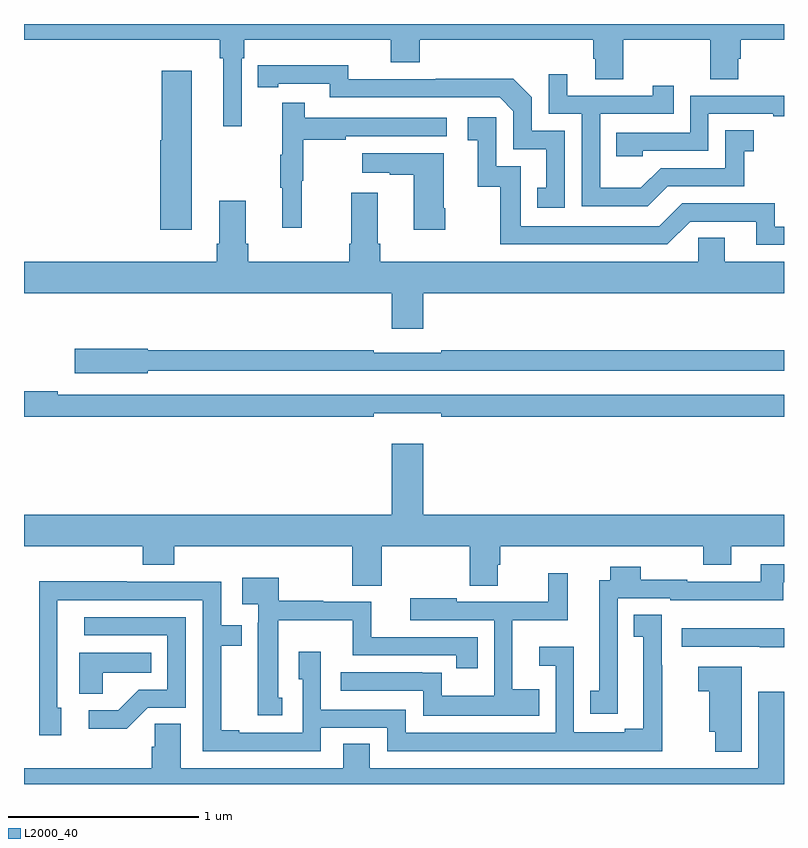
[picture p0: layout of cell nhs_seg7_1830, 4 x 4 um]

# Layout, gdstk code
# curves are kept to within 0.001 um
import gdstk
lib = gdstk.Library(unit=1e-6, precision=1e-09)
def P(c, l, *ps):  # polygons
    for p in ps: c.add(gdstk.Polygon(p, *l))
L2000_40 = (2000, 40)

nhs_seg7_1830 = lib.new_cell('nhs_seg7_1830')
P(nhs_seg7_1830, L2000_40, [(236.145,1033.82),(236.159,1033.82),(236.159,1033.916),(236.93,1033.916),(236.93,1033.799),(237.083,1033.799),(237.083,1033.916),(237.995,1033.916),(237.995,1033.818),(238.007,1033.818),(238.007,1033.708),(238.155,1033.708),(238.155,1033.916),(238.612,1033.916),(238.612,1033.708),(238.759,1033.708),(238.759,1033.818),(238.772,1033.818),(238.772,1033.916),(239,1033.916),(239,1034),(235,1034),(235,1033.916),(236.029,1033.916),(236.029,1033.82),(236.048,1033.82),(236.048,1033.461),(236.145,1033.461)],
  [(237.846,1033.437),(237.672,1033.437),(237.672,1033.614),(237.574,1033.712),(237.166,1033.712),(237.166,1033.71),(236.706,1033.71),(236.706,1033.783),(236.23,1033.782),(236.23,1033.666),(236.338,1033.666),(236.338,1033.686),(236.61,1033.686),(236.61,1033.614),(237.504,1033.614),(237.576,1033.542),(237.576,1033.341),(237.749,1033.341),(237.749,1033.137),(237.7,1033.137),(237.7,1033.032),(237.846,1033.032)],
  [(235.882,1033.753),(235.724,1033.753),(235.724,1033.389),(235.718,1033.389),(235.718,1032.918),(235.882,1032.918)],
  [(238.387,1033.146),(238.791,1033.146),(238.791,1033.331),(238.84,1033.331),(238.84,1033.441),(238.692,1033.441),(238.692,1033.242),(238.35,1033.242),(238.246,1033.138),(238.032,1033.138),(238.032,1033.527),(238.421,1033.527),(238.421,1033.675),(238.31,1033.675),(238.31,1033.623),(237.859,1033.623),(237.859,1033.735),(237.762,1033.735),(237.762,1033.527),(237.936,1033.527),(237.936,1033.041),(238.282,1033.041)],
  [(238.257,1033.332),(238.602,1033.332),(238.602,1033.527),(238.943,1033.527),(238.943,1033.515),(239,1033.515),(239,1033.623),(238.506,1033.623),(238.506,1033.428),(238.117,1033.428),(238.117,1033.305),(238.257,1033.305)],
  [(236.462,1033.176),(236.47,1033.176),(236.47,1033.39),(236.693,1033.39),(236.693,1033.41),(237.226,1033.41),(237.226,1033.506),(236.477,1033.506),(236.477,1033.585),(236.36,1033.585),(236.36,1033.313),(236.349,1033.313),(236.349,1033.139),(236.36,1033.139),(236.36,1032.927),(236.462,1032.927)],
  [(239,1032.933),(238.95,1032.933),(238.95,1033.056),(238.464,1033.056),(238.344,1032.936),(237.615,1032.936),(237.615,1033.251),(237.486,1033.251),(237.486,1033.51),(237.336,1033.51),(237.336,1033.389),(237.389,1033.389),(237.389,1033.143),(237.507,1033.143),(237.507,1032.84),(238.386,1032.84),(238.506,1032.96),(238.853,1032.96),(238.853,1032.837),(239,1032.837)],
  [(237.216,1033.03),(237.208,1033.03),(237.208,1033.321),(236.781,1033.321),(236.781,1033.217),(236.924,1033.217),(236.924,1033.207),(237.05,1033.207),(237.05,1032.918),(237.216,1032.918)],
  [(237.1,1032.584),(239,1032.584),(239,1032.748),(238.687,1032.748),(238.687,1032.875),(238.548,1032.875),(238.548,1032.748),(236.876,1032.748),(236.876,1032.844),(236.863,1032.844),(236.863,1033.111),(236.723,1033.111),(236.723,1032.844),(236.711,1032.844),(236.711,1032.748),(236.18,1032.748),(236.18,1032.844),(236.167,1032.844),(236.167,1033.069),(236.027,1033.069),(236.027,1032.844),(236.015,1032.844),(236.015,1032.748),(235,1032.748),(235,1032.584),(236.936,1032.584),(236.936,1032.396),(237.1,1032.396)],
  [(235.65,1032.174),(239,1032.174),(239,1032.283),(237.196,1032.283),(237.196,1032.27),(236.84,1032.27),(236.84,1032.283),(235.65,1032.283),(235.65,1032.291),(235.266,1032.291),(235.266,1032.161),(235.65,1032.161)],
  [(236.84,1031.951),(237.196,1031.951),(237.196,1031.932),(239,1031.932),(239,1032.048),(235.178,1032.048),(235.178,1032.068),(235,1032.068),(235,1031.932),(236.84,1031.932)],
  [(236.883,1031.252),(237.346,1031.252),(237.346,1031.044),(237.493,1031.044),(237.493,1031.154),(237.506,1031.154),(237.506,1031.252),(238.576,1031.252),(238.576,1031.153),(238.723,1031.153),(238.723,1031.252),(239,1031.252),(239,1031.416),(237.1,1031.416),(237.1,1031.791),(236.936,1031.791),(236.936,1031.416),(235,1031.416),(235,1031.252),(235.625,1031.252),(235.625,1031.153),(235.79,1031.153),(235.79,1031.252),(236.728,1031.252),(236.728,1031.044),(236.883,1031.044)],
  [(238.126,1030.694),(238.125,1030.694),(238.125,1030.977),(238.401,1030.977),(238.401,1030.967),(238.996,1030.967),(238.996,1031.061),(239,1031.061),(239,1031.157),(238.877,1031.157),(238.877,1031.064),(238.491,1031.064),(238.491,1031.074),(238.245,1031.074),(238.245,1031.143),(238.085,1031.143),(238.085,1031.073),(238.028,1031.073),(238.028,1030.491),(237.979,1030.491),(237.979,1030.371),(238.126,1030.371)],
  [(237.713,1030.498),(237.571,1030.498),(237.571,1030.862),(237.862,1030.862),(237.862,1031.11),(237.76,1031.11),(237.76,1030.959),(237.277,1030.959),(237.277,1030.978),(237.033,1030.978),(237.033,1030.863),(237.474,1030.863),(237.474,1030.465),(237.198,1030.465),(237.198,1030.586),(237.095,1030.586),(237.095,1030.587),(236.667,1030.587),(236.667,1030.491),(237.102,1030.491),(237.102,1030.358),(237.713,1030.358)],
  [(236.359,1030.455),(236.338,1030.455),(236.338,1030.862),(236.729,1030.862),(236.729,1030.677),(237.276,1030.677),(237.276,1030.608),(237.389,1030.608),(237.389,1030.773),(236.828,1030.773),(236.828,1030.959),(236.574,1030.959),(236.574,1030.964),(236.341,1030.964),(236.341,1031.086),(236.148,1031.086),(236.148,1030.946),(236.232,1030.946),(236.232,1030.85),(236.231,1030.85),(236.231,1030.362),(236.359,1030.362)],
  [(238.359,1030.625),(238.356,1030.625),(238.356,1030.892),(238.21,1030.892),(238.21,1030.774),(238.259,1030.774),(238.259,1030.291),(238.163,1030.291),(238.163,1030.273),(237.894,1030.273),(237.894,1030.723),(237.711,1030.723),(237.711,1030.622),(237.798,1030.622),(237.798,1030.269),(237.009,1030.269),(237.009,1030.392),(236.562,1030.392),(236.562,1030.696),(236.447,1030.696),(236.447,1030.551),(236.466,1030.551),(236.466,1030.269),(236.134,1030.269),(236.134,1030.282),(236.039,1030.282),(236.039,1030.728),(236.146,1030.728),(236.146,1030.836),(236.037,1030.836),(236.037,1031.064),(235.541,1031.064),(235.541,1031.066),(235.08,1031.066),(235.08,1030.257),(235.195,1030.257),(235.195,1030.401),(235.176,1030.401),(235.176,1030.968),(235.941,1030.968),(235.941,1030.173),(236.562,1030.173),(236.562,1030.296),(236.913,1030.296),(236.913,1030.173),(237.901,1030.173),(237.901,1030.172),(238.359,1030.172)],
  [(235.65,1030.401),(235.851,1030.401),(235.851,1030.878),(235.317,1030.878),(235.317,1030.782),(235.755,1030.782),(235.755,1030.497),(235.605,1030.497),(235.497,1030.389),(235.341,1030.389),(235.341,1030.292),(235.54,1030.292)],
  [(239,1030.819),(238.461,1030.819),(238.461,1030.722),(238.873,1030.722),(238.873,1030.72),(239,1030.72)],
  [(235.414,1030.586),(235.67,1030.586),(235.67,1030.69),(235.292,1030.69),(235.292,1030.474),(235.414,1030.474)],
  [(238.777,1030.618),(238.548,1030.618),(238.548,1030.489),(238.607,1030.489),(238.607,1030.274),(238.637,1030.274),(238.637,1030.169),(238.777,1030.169)],
  [(239,1030.486),(238.865,1030.486),(238.865,1030.084),(236.821,1030.084),(236.821,1030.211),(236.681,1030.211),(236.681,1030.084),(235.825,1030.084),(235.825,1030.316),(235.687,1030.316),(235.687,1030.196),(235.673,1030.196),(235.673,1030.084),(235,1030.084),(235,1030),(239,1030)])

lib.write_gds('nhs_seg7_1830.gds')
